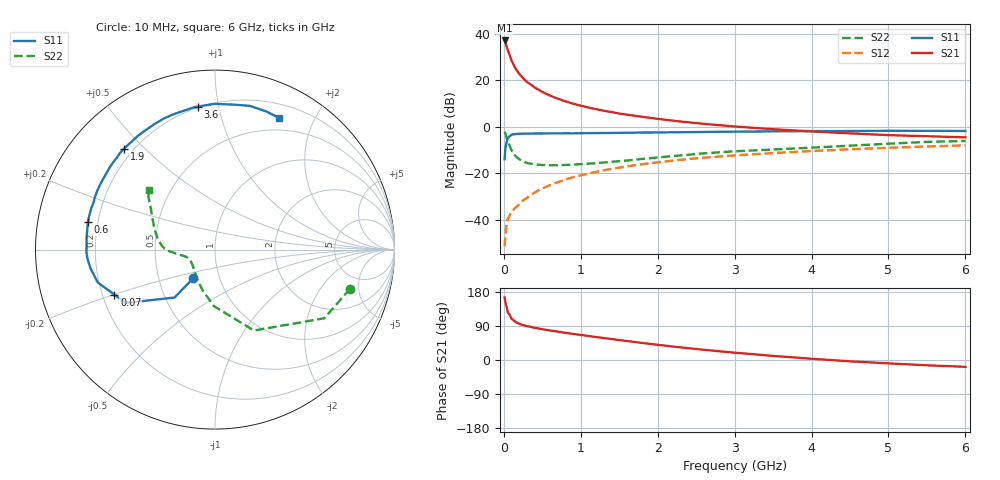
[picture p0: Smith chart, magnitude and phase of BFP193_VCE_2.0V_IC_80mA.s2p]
! Infineon Technologies  Discrete & RF Semiconductors
! BFP193
! VCE =  2.0 V,  IC =  80 mA
! Common Emitter S-Parameters:  Jan 2017
# GHz  S  MA  R  50
!  f  S11  S21  S12  S22
! GHz  MAG  ANG  MAG  ANG  MAG  ANG  MAG  ANG
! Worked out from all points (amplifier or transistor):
!   77 points, 10 MHz to 6 GHz, reference 50 ohm
!   highest |S21| = 37.2 dB at 10 MHz (marker M1)
!   |S21| within 3 dB of that: start of sweep to 39.64 MHz
!   unconditionally stable (mu >= 1): 262.9 MHz to 2.774 GHz
!   at 130 MHz: K = 0.80, MSG = 31.1 dB, |S12| = -35.5 dB
!   at 2.2 GHz: K = 1.03, MAG = 7.5 dB, |S12| = -14.5 dB
!   at 6 GHz: K = 0.99, MSG = 1.7 dB, |S12| = -8.0 dB
!   S11 on the Smith chart (normalised r, x): 10 MHz: 0.75, -0.25; 70 MHz: 0.25, -0.20; 600 MHz: 0.16, +0.10; 1.9 GHz: 0.17, +0.44; 3.6 GHz: 0.19, +0.87; 6 GHz: 0.35, +1.54
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0.01  0.2008 -127.3  72.51 165.1  0.0027 78.0  0.7833 -16.2
0.02  0.3497 -130.2  66.94 152.1  0.0048 72.6  0.7193 -32.1
0.05  0.5798 -149.2  45.12 126.1  0.0103 55.0  0.5005 -64.3
0.07  0.614 -155.9  37.28 121.2  0.0119 56.2  0.416 -72.2
0.1  0.6787 -164.4  26.43 108.4  0.0144 57.4  0.3139 -91.4
0.15  0.7012 -171.4  18.22 100.6  0.0183 61.6  0.2365 -106.9
0.2  0.7116 -175.6  13.84 95.6  0.0214 65.3  0.201 -117.9
0.25  0.7165 -178.8  11.14 92.0  0.0261 67.3  0.1801 -125.9
0.3  0.7159 178.6  9.312 89.4  0.0297 67.6  0.1675 -132.7
0.4  0.7187 174.5  7.033 84.8  0.0385 70.2  0.155 -141.6
0.5  0.7206 170.9  5.632 81.2  0.0472 70.9  0.151 -147.7
0.6  0.7253 167.7  4.718 77.8  0.0559 70.7  0.1499 -152.8
0.8  0.7267 161.7  3.553 71.7  0.0734 70.0  0.151 -158.6
1.1  0.7333 153.4  2.61 63.4  0.0991 67.0  0.1612 -164.3
1.5  0.7433 142.6  1.941 52.7  0.1326 62.2  0.1827 -169.6
1.9  0.7569 132.0  1.564 42.6  0.1651 56.7  0.2112 -173.5
2.1  0.7611 126.9  1.421 37.9  0.1802 54.0  0.2274 -175.3
3.1  0.7895 105.6  0.992 17.7  0.2483 40.4  0.3029 174.4
3.6  0.8025 96.7  0.871 9.2  0.2784 34.3  0.3313 167.4
4.1  0.8113 88.8  0.782 1.9  0.3071 28.1  0.3636 159.3
5.1  0.8227 75.1  0.657 -9.9  0.3594 16.0  0.442 145.0
6  0.8157 64.0  0.595 -18.0  0.3996 5.7  0.4963 137.6
